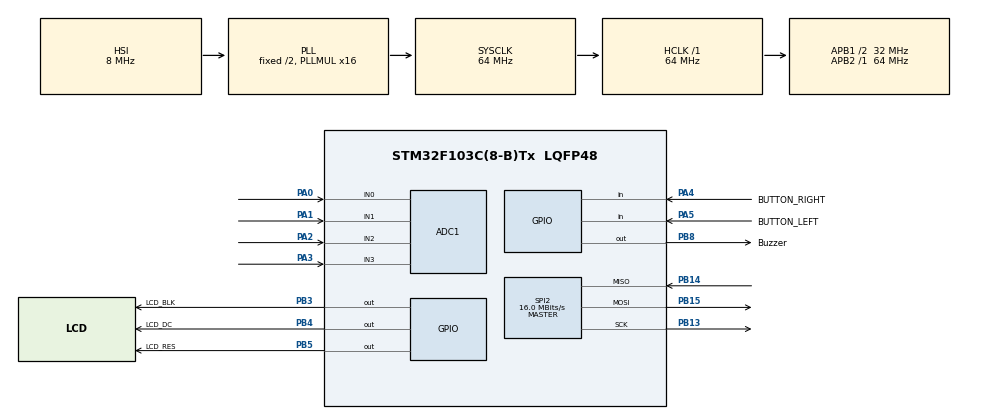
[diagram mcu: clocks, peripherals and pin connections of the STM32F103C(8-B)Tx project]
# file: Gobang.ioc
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ADC1.Channel-0\#ChannelRegularConversion=ADC_CHANNEL_0
ADC1.Channel-1\#ChannelRegularConversion=ADC_CHANNEL_1
ADC1.Channel-2\#ChannelRegularConversion=ADC_CHANNEL_2
ADC1.Channel-3\#ChannelRegularConversion=ADC_CHANNEL_3
ADC1.ContinuousConvMode=ENABLE
ADC1.NbrOfConversion=4
ADC1.NbrOfConversionFlag=1
ADC1.Rank-0\#ChannelRegularConversion=1
ADC1.Rank-1\#ChannelRegularConversion=2
ADC1.Rank-2\#ChannelRegularConversion=3
ADC1.Rank-3\#ChannelRegularConversion=4
ADC1.SamplingTime-0\#ChannelRegularConversion=ADC_SAMPLETIME_41CYCLES_5
ADC1.SamplingTime-1\#ChannelRegularConversion=ADC_SAMPLETIME_41CYCLES_5
ADC1.SamplingTime-2\#ChannelRegularConversion=ADC_SAMPLETIME_41CYCLES_5
ADC1.SamplingTime-3\#ChannelRegularConversion=ADC_SAMPLETIME_41CYCLES_5
ADC1.master=1
Dma.ADC1.0.Direction=DMA_PERIPH_TO_MEMORY
Dma.ADC1.0.Instance=DMA1_Channel1
Dma.ADC1.0.MemDataAlignment=DMA_MDATAALIGN_HALFWORD
Dma.ADC1.0.MemInc=DMA_MINC_ENABLE
Dma.ADC1.0.Mode=DMA_CIRCULAR
Dma.ADC1.0.PeriphDataAlignment=DMA_PDATAALIGN_HALFWORD
Dma.ADC1.0.PeriphInc=DMA_PINC_DISABLE
Dma.ADC1.0.Priority=DMA_PRIORITY_LOW
Dma.Request0=ADC1
Mcu.Family=STM32F1
Mcu.Name=STM32F103C(8-B)Tx
Mcu.Package=LQFP48
NVIC.DMA1_Channel1_IRQn=true\:0\:0\:false\:false\:true\:false\:true
NVIC.PriorityGroup=NVIC_PRIORITYGROUP_4
NVIC.TIM4_IRQn=true\:0\:0\:false\:false\:true\:true\:true
PA0-WKUP.Signal=ADCx_IN0
PA1.Signal=ADCx_IN1
PA13.Mode=Serial_Wire
PA13.Signal=SYS_JTMS-SWDIO
PA14.Mode=Serial_Wire
PA14.Signal=SYS_JTCK-SWCLK
PA2.Signal=ADCx_IN2
PA3.Signal=ADCx_IN3
PA4.GPIO_Label=BUTTON_RIGHT
PA4.GPIO_Mode=GPIO_MODE_INPUT
PA4.GPIO_PuPd=GPIO_PULLUP
PA4.Signal=GPIO_Input
PA5.GPIO_Label=BUTTON_LEFT
PA5.GPIO_Mode=GPIO_MODE_INPUT
PA5.GPIO_PuPd=GPIO_PULLUP
PA5.Signal=GPIO_Input
PB13.Mode=Full_Duplex_Master
PB13.Signal=SPI2_SCK
PB14.Mode=Full_Duplex_Master
PB14.Signal=SPI2_MISO
PB15.Mode=Full_Duplex_Master
PB15.Signal=SPI2_MOSI
PB3.GPIO_Label=LCD_BLK
PB3.Signal=GPIO_Output
PB4.GPIO_Label=LCD_DC
PB4.Signal=GPIO_Output
PB5.GPIO_Label=LCD_RES
PB5.Signal=GPIO_Output
PB8.GPIO_Label=Buzzer
PB8.Signal=GPIO_Output
ProjectManager.HeapSize=0x400
ProjectManager.StackSize=0x800
ProjectManager.TargetToolchain=Makefile
RCC.ADCPresc=RCC_ADCPCLK2_DIV6
RCC.AHBFreq_Value=64000000
RCC.APB1CLKDivider=RCC_HCLK_DIV2
RCC.APB1Freq_Value=32000000
RCC.APB1TimFreq_Value=64000000
RCC.APB2Freq_Value=64000000
RCC.APB2TimFreq_Value=64000000
RCC.HCLKFreq_Value=64000000
RCC.PLLMUL=RCC_PLL_MUL16
RCC.SYSCLKFreq_VALUE=64000000
RCC.SYSCLKSource=RCC_SYSCLKSOURCE_PLLCLK
RCC.USBFreq_Value=64000000
SH.ADCx_IN0.0=ADC1_IN0,IN0
SH.ADCx_IN1.0=ADC1_IN1,IN1
SH.ADCx_IN2.0=ADC1_IN2,IN2
SH.ADCx_IN3.0=ADC1_IN3,IN3
SPI2.BaudRatePrescaler=SPI_BAUDRATEPRESCALER_2
SPI2.CalculateBaudRate=16.0 MBits/s
SPI2.Direction=SPI_DIRECTION_2LINES
SPI2.Mode=SPI_MODE_MASTER
SPI2.VirtualType=VM_MASTER
TIM4.Period=99
TIM4.Prescaler=3199
VP_TIM4_VS_ClockSourceINT.Mode=Internal
board=custom

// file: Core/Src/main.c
/* USER CODE BEGIN Header */
/**
  ******************************************************************************
  * @file           : main.c
  * @brief          : Main program body
  ******************************************************************************
  * @attention
  *
  * <h2><center>&copy; Copyright (c) 2019 STMicroelectronics.
  * All rights reserved.</center></h2>
  *
  * This software component is licensed by ST under BSD 3-Clause license,
  * the "License"; You may not use this file except in compliance with the
  * License. You may obtain a copy of the License at:
  *                        opensource.org/licenses/BSD-3-Clause
  *
  ******************************************************************************
  */
/* USER CODE END Header */

#include "main.h"
#include "adc.h"
#include "dma.h"
#include "spi.h"
#include "tim.h"
#include "gpio.h"

/* USER CODE BEGIN Includes */
#include "ili9341_stm32_driver.h"
#include "multi_button.h"
#include "control.h"
#include "ui.h"
#include "game.h"
/* USER CODE END Includes */

/* USER CODE BEGIN PV */
uint32_t global_milliseconds = 0;
/* USER CODE END PV */

void SystemClock_Config(void);

int main(void)
{

  /* MCU Configuration--------------------------------------------------------*/

  /* Reset of all peripherals, Initializes the Flash interface and the Systick. */
  HAL_Init();

  /* Configure the system clock */
  SystemClock_Config();

  /* Initialize all configured peripherals */
  MX_GPIO_Init();
  MX_DMA_Init();
  MX_ADC1_Init();
  MX_SPI2_Init();
  MX_TIM4_Init();
  /* USER CODE BEGIN 2 */
  control.init();
  game.init();
  ui.init();
  HAL_GPIO_TogglePin(Buzzer_GPIO_Port, Buzzer_Pin);
  HAL_Delay(200);
  HAL_GPIO_TogglePin(Buzzer_GPIO_Port, Buzzer_Pin);
  HAL_Delay(200);
  HAL_GPIO_TogglePin(Buzzer_GPIO_Port, Buzzer_Pin);
  HAL_Delay(200);
  HAL_GPIO_TogglePin(Buzzer_GPIO_Port, Buzzer_Pin);
  /* USER CODE END 2 */

  /* Infinite loop */
  while (1)
  {

    /* USER CODE BEGIN 3 */
    game.run();
    ui.refresh(game.page,
    game.history_step,
    game.cursor,
    game.winner,
    game.who_dropping,
    game.game_mode,
    game.playing,
    game.start_menu_selection,
    game.finish_menu_selection);
    HAL_Delay(1);
  }
  /* USER CODE END 3 */
}

void SystemClock_Config(void)
{
  RCC_OscInitTypeDef RCC_OscInitStruct = {0};
  RCC_ClkInitTypeDef RCC_ClkInitStruct = {0};
  RCC_PeriphCLKInitTypeDef PeriphClkInit = {0};

  /** Initializes the CPU, AHB and APB busses clocks
  */
  RCC_OscInitStruct.OscillatorType = RCC_OSCILLATORTYPE_HSI;
  RCC_OscInitStruct.HSIState = RCC_HSI_ON;
  RCC_OscInitStruct.HSICalibrationValue = RCC_HSICALIBRATION_DEFAULT;
  RCC_OscInitStruct.PLL.PLLState = RCC_PLL_ON;
  RCC_OscInitStruct.PLL.PLLSource = RCC_PLLSOURCE_HSI_DIV2;
  RCC_OscInitStruct.PLL.PLLMUL = RCC_PLL_MUL16;
  if (HAL_RCC_OscConfig(&RCC_OscInitStruct) != HAL_OK)
  {
    Error_Handler();
  }
  /** Initializes the CPU, AHB and APB busses clocks
  */
  RCC_ClkInitStruct.ClockType = RCC_CLOCKTYPE_HCLK|RCC_CLOCKTYPE_SYSCLK
                              |RCC_CLOCKTYPE_PCLK1|RCC_CLOCKTYPE_PCLK2;
  RCC_ClkInitStruct.SYSCLKSource = RCC_SYSCLKSOURCE_PLLCLK;
  RCC_ClkInitStruct.AHBCLKDivider = RCC_SYSCLK_DIV1;
  RCC_ClkInitStruct.APB1CLKDivider = RCC_HCLK_DIV2;
  RCC_ClkInitStruct.APB2CLKDivider = RCC_HCLK_DIV1;

  if (HAL_RCC_ClockConfig(&RCC_ClkInitStruct, FLASH_LATENCY_2) != HAL_OK)
  {
    Error_Handler();
  }
  PeriphClkInit.PeriphClockSelection = RCC_PERIPHCLK_ADC;
  PeriphClkInit.AdcClockSelection = RCC_ADCPCLK2_DIV6;
  if (HAL_RCCEx_PeriphCLKConfig(&PeriphClkInit) != HAL_OK)
  {
    Error_Handler();
  }
}

void Error_Handler(void)
{
  /* USER CODE BEGIN Error_Handler_Debug */
  /* User can add his own implementation to report the HAL error return state */
  while(1){
    /* code */
  }
  /* USER CODE END Error_Handler_Debug */
}

/************************ (C) COPYRIGHT STMicroelectronics *****END OF FILE****/
